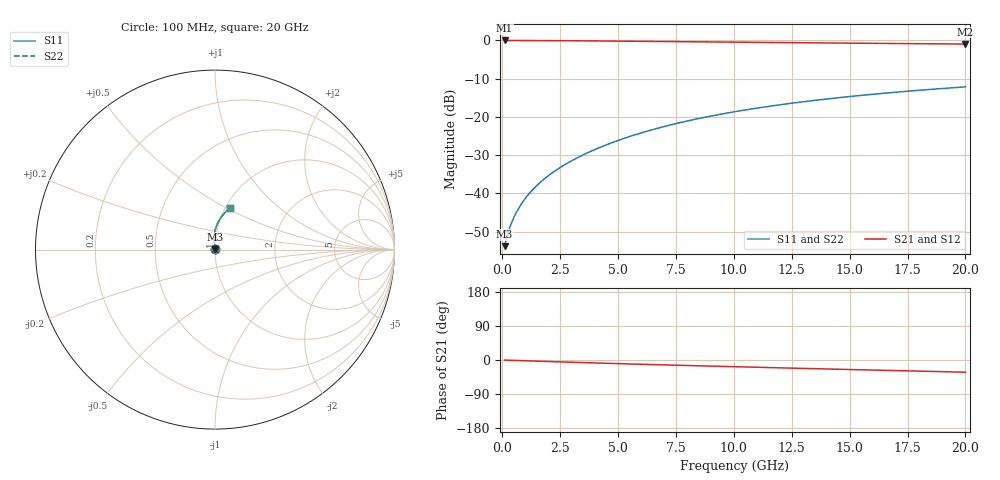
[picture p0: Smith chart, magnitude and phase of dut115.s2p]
! Touchstone file exported from HFSS 2024.1.0
!  File:  C:/UserFiles/LocalFiles/RDL_TSV_Batchsim/temp_RDL_bottom_115_1778695827.aedt
!  Generated:  02:12:31 AM May 14, 2026
!  Design:  RDL_bottom
!  Project:  temp_RDL_bottom_115_1778695827
!  Setup:  Setup1
!  Solution:  Sweep
! Variables:
!  dtsv = 10.80580581um
!  hbump = 3um
!  htsv = 75.07um
!  ldown = 481.56um
!  lrdl = 100um
!  p = 40
!  p1 = 51.02um
!  rhole = 1um
!  t = 450um
!  tdown = 3.82um
!  trdl = 3.915915916um
!  wdown = 29.93um
!  wrdl = 20um
# GHz S MA R 50.000000
! Terminal data exported
! Port[1] = RDL1_T1
! Port[2] = RDL1_T2
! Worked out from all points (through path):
!   200 points, 100 MHz to 20 GHz, reference 50 ohm
!   highest |S21| = -0.02 dB at 100 MHz (marker M1); lowest = -1.0 dB at 20 GHz (marker M2)
!   group delay of S21, straight-line fit = 4.39 ps
!   lowest |S11| = -53.8 dB at 100 MHz (marker M3), VSWR 1.00, Z = 50.2 + j0.104 ohm
!   |S11| at or under -10 dB: start of sweep to end of sweep
!   |S22| runs from -53.8 to -12.2 dB; largest |S21 - S12| = 2.1e-15
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0.1  0.002033 30.6  0.9982 -0.2  0.9982 -0.2  0.002033 30.6
! Gamma 0 0 0 0
! Port Impedance 50 0 50 0
0.2  0.002718 45.8  0.998 -0.4  0.998 -0.4  0.002718 45.8
0.3  0.003423 54.2  0.9979 -0.6  0.9979 -0.6  0.003423 54.2
0.4  0.004123 60.1  0.9977 -0.8  0.9977 -0.8  0.004123 60.1
0.5  0.004831 64.6  0.9975 -1.0  0.9975 -1.0  0.004832 64.6
0.8  0.007057 73.7  0.9971 -1.6  0.9971 -1.6  0.007057 73.7
1  0.008616 77.7  0.9967 -2.0  0.9967 -2.0  0.008616 77.6
1.2  0.01023 80.6  0.9963 -2.4  0.9963 -2.4  0.01022 80.6
1.7  0.01444 85.7  0.9949 -3.4  0.9949 -3.4  0.01444 85.7
2.2  0.01892 88.9  0.9932 -4.4  0.9932 -4.4  0.01892 88.9
2.8  0.02467 91.5  0.9907 -5.5  0.9907 -5.5  0.02466 91.4
3.5  0.03188 93.4  0.9873 -6.9  0.9873 -6.9  0.03187 93.3
4.2  0.03964 94.3  0.9834 -8.1  0.9834 -8.1  0.03961 94.3
5  0.04909 94.7  0.9787 -9.6  0.9787 -9.6  0.04906 94.7
5.9  0.06037 94.4  0.9731 -11.1  0.9731 -11.1  0.06032 94.4
6.8  0.07217 93.6  0.9675 -12.6  0.9675 -12.6  0.07209 93.6
8.4  0.09395 91.4  0.9576 -15.2  0.9576 -15.2  0.09384 91.3
10.1  0.1176 88.4  0.9476 -17.9  0.9476 -17.9  0.1174 88.3
11.7  0.1398 85.4  0.9386 -20.3  0.9386 -20.3  0.1396 85.3
13.4  0.163 82.2  0.9294 -22.8  0.9294 -22.8  0.1628 82.1
16.7  0.2064 76.0  0.9123 -27.6  0.9123 -27.6  0.2061 75.9
20  0.2467 70.2  0.8957 -32.2  0.8957 -32.2  0.2463 70.1
